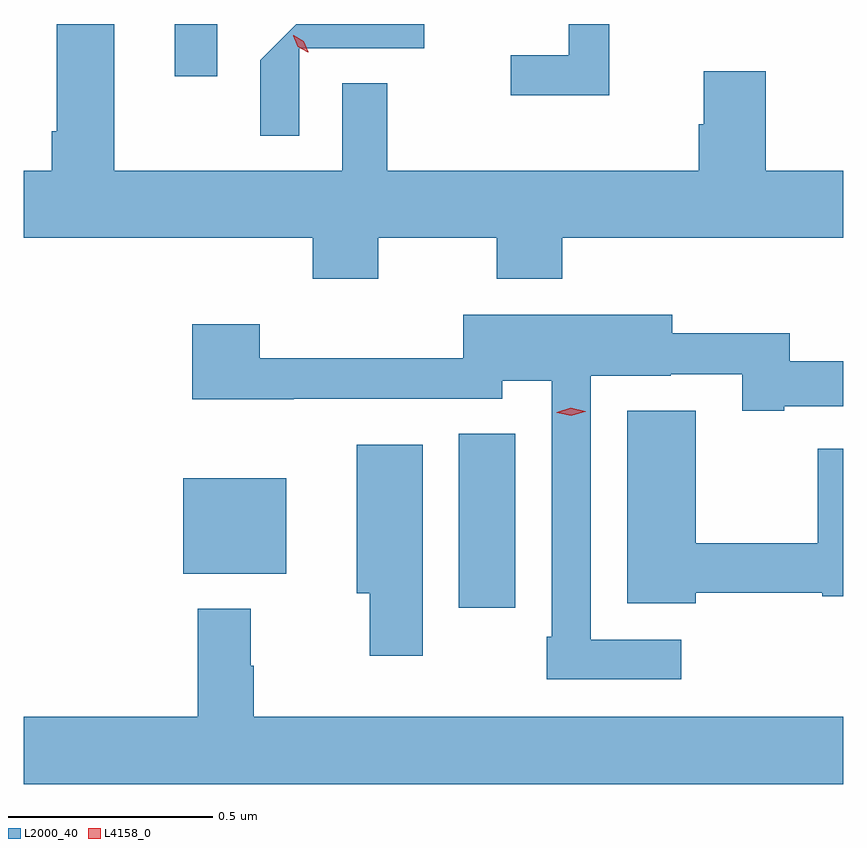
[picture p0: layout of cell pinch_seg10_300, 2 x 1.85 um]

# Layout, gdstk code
import gdstk
lib = gdstk.Library(unit=1e-6, precision=1e-09)
def R(c, l, rs):  # rectangles x0, y0, x1, y1
    for r in rs: c.add(gdstk.rectangle(r[:2], r[2:], *l))
def P(c, l, *ps):  # polygons
    for p in ps: c.add(gdstk.Polygon(p, *l))
L2000_40 = (2000, 40)
L4158_0 = (4158, 0)

pinch_seg10_300 = lib.new_cell('pinch_seg10_300')
R(pinch_seg10_300, L2000_40, [(499.46,1298.082,499.597,1298.507), (498.788,1298.165,499.039,1298.398), (498.767,1299.378,498.871,1299.506)])
P(pinch_seg10_300, L2000_40, [(499.071,1299.447),(499.376,1299.447),(499.376,1299.506),(499.063,1299.506),(498.975,1299.418),(498.975,1299.233),(499.071,1299.233)],
  [(500.398,1299.148),(500.209,1299.148),(500.209,1299.391),(500.057,1299.391),(500.057,1299.261),(500.045,1299.261),(500.045,1299.148),(499.285,1299.148),(499.285,1299.362),(499.176,1299.362),(499.176,1299.148),(498.619,1299.148),(498.619,1299.506),(498.479,1299.506),(498.479,1299.244),(498.467,1299.244),(498.467,1299.148),(498.398,1299.148),(498.398,1298.984),(499.103,1298.984),(499.103,1298.885),(499.263,1298.885),(499.263,1298.984),(499.552,1298.984),(499.552,1298.885),(499.712,1298.885),(499.712,1298.984),(500.398,1298.984)],
  [(499.827,1299.506),(499.728,1299.506),(499.728,1299.43),(499.587,1299.43),(499.587,1299.332),(499.827,1299.332)],
  [(500.002,1298.004),(499.782,1298.004),(499.782,1298.648),(499.977,1298.648),(499.977,1298.652),(500.151,1298.652),(500.151,1298.562),(500.254,1298.562),(500.254,1298.574),(500.398,1298.574),(500.398,1298.683),(500.267,1298.683),(500.267,1298.751),(499.981,1298.751),(499.981,1298.797),(499.47,1298.797),(499.47,1298.69),(498.974,1298.69),(498.974,1298.773),(498.809,1298.773),(498.809,1298.591),(499.057,1298.591),(499.057,1298.592),(499.566,1298.592),(499.566,1298.636),(499.686,1298.636),(499.686,1298.011),(499.674,1298.011),(499.674,1297.908),(500.002,1297.908)],
  [(500.038,1298.118),(500.346,1298.118),(500.346,1298.11),(500.398,1298.11),(500.398,1298.47),(500.335,1298.47),(500.335,1298.239),(500.038,1298.239),(500.038,1298.563),(499.871,1298.563),(499.871,1298.093),(500.038,1298.093)],
  [(499.372,1298.479),(499.211,1298.479),(499.211,1298.117),(499.243,1298.117),(499.243,1297.965),(499.372,1297.965)],
  [(500.398,1297.816),(498.959,1297.816),(498.959,1297.94),(498.952,1297.94),(498.952,1298.08),(498.823,1298.08),(498.823,1297.816),(498.398,1297.816),(498.398,1297.652),(500.398,1297.652)])
P(pinch_seg10_300, L4158_0, [(499.734,1298.55),(499.699,1298.558),(499.699,1298.559),(499.699,1298.559),(499.733,1298.57),(499.768,1298.561),(499.769,1298.56),(499.768,1298.56)],
  [(499.091,1299.437),(499.067,1299.451),(499.056,1299.477),(499.056,1299.478),(499.057,1299.478),(499.082,1299.464),(499.092,1299.438),(499.092,1299.437)])

lib.write_gds('pinch_seg10_300.gds')
